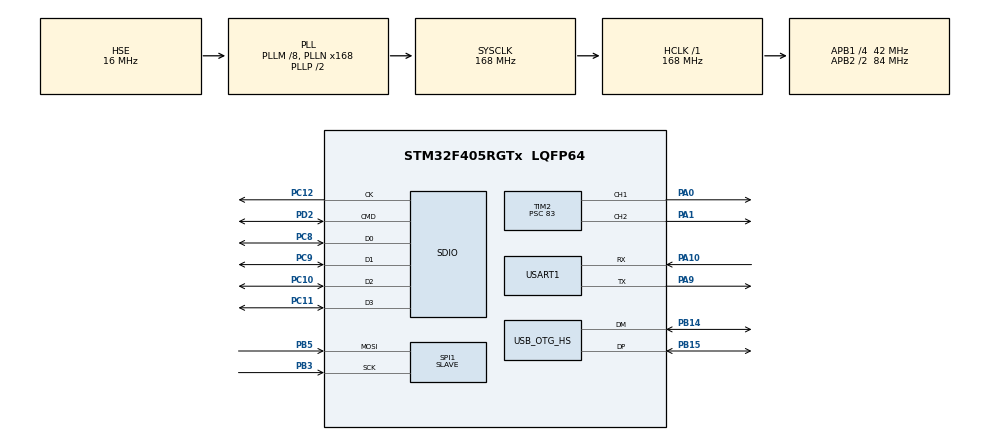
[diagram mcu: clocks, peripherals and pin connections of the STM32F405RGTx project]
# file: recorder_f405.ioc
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ADC1.Channel-0\#ChannelRegularConversion=ADC_CHANNEL_VBAT
ADC1.NbrOfConversionFlag=1
ADC1.Rank-0\#ChannelRegularConversion=1
ADC1.SamplingTime-0\#ChannelRegularConversion=ADC_SAMPLETIME_480CYCLES
ADC1.master=1
Dma.Request0=SDIO_RX
Dma.Request1=SDIO_TX
Dma.Request2=USART1_RX
Dma.Request3=USART1_TX
Dma.Request4=SPI1_RX
Dma.SDIO_RX.0.Direction=DMA_PERIPH_TO_MEMORY
Dma.SDIO_RX.0.FIFOMode=DMA_FIFOMODE_ENABLE
Dma.SDIO_RX.0.FIFOThreshold=DMA_FIFO_THRESHOLD_FULL
Dma.SDIO_RX.0.Instance=DMA2_Stream6
Dma.SDIO_RX.0.MemBurst=DMA_MBURST_INC4
Dma.SDIO_RX.0.MemDataAlignment=DMA_MDATAALIGN_WORD
Dma.SDIO_RX.0.MemInc=DMA_MINC_ENABLE
Dma.SDIO_RX.0.Mode=DMA_PFCTRL
Dma.SDIO_RX.0.PeriphBurst=DMA_PBURST_INC4
Dma.SDIO_RX.0.PeriphDataAlignment=DMA_PDATAALIGN_WORD
Dma.SDIO_RX.0.PeriphInc=DMA_PINC_DISABLE
Dma.SDIO_RX.0.Priority=DMA_PRIORITY_LOW
Dma.SDIO_TX.1.Direction=DMA_MEMORY_TO_PERIPH
Dma.SDIO_TX.1.FIFOMode=DMA_FIFOMODE_ENABLE
Dma.SDIO_TX.1.FIFOThreshold=DMA_FIFO_THRESHOLD_FULL
Dma.SDIO_TX.1.Instance=DMA2_Stream3
Dma.SDIO_TX.1.MemBurst=DMA_MBURST_INC4
Dma.SDIO_TX.1.MemDataAlignment=DMA_MDATAALIGN_WORD
Dma.SDIO_TX.1.MemInc=DMA_MINC_ENABLE
Dma.SDIO_TX.1.Mode=DMA_PFCTRL
Dma.SDIO_TX.1.PeriphBurst=DMA_PBURST_INC4
Dma.SDIO_TX.1.PeriphDataAlignment=DMA_PDATAALIGN_WORD
Dma.SDIO_TX.1.PeriphInc=DMA_PINC_DISABLE
Dma.SDIO_TX.1.Priority=DMA_PRIORITY_LOW
Dma.SPI1_RX.4.Direction=DMA_PERIPH_TO_MEMORY
Dma.SPI1_RX.4.FIFOMode=DMA_FIFOMODE_DISABLE
Dma.SPI1_RX.4.Instance=DMA2_Stream0
Dma.SPI1_RX.4.MemDataAlignment=DMA_MDATAALIGN_BYTE
Dma.SPI1_RX.4.MemInc=DMA_MINC_ENABLE
Dma.SPI1_RX.4.Mode=DMA_CIRCULAR
Dma.SPI1_RX.4.PeriphDataAlignment=DMA_PDATAALIGN_BYTE
Dma.SPI1_RX.4.PeriphInc=DMA_PINC_DISABLE
Dma.SPI1_RX.4.Priority=DMA_PRIORITY_HIGH
Dma.USART1_RX.2.Direction=DMA_PERIPH_TO_MEMORY
Dma.USART1_RX.2.FIFOMode=DMA_FIFOMODE_DISABLE
Dma.USART1_RX.2.Instance=DMA2_Stream2
Dma.USART1_RX.2.MemDataAlignment=DMA_MDATAALIGN_BYTE
Dma.USART1_RX.2.MemInc=DMA_MINC_ENABLE
Dma.USART1_RX.2.Mode=DMA_NORMAL
Dma.USART1_RX.2.PeriphDataAlignment=DMA_PDATAALIGN_BYTE
Dma.USART1_RX.2.PeriphInc=DMA_PINC_DISABLE
Dma.USART1_RX.2.Priority=DMA_PRIORITY_LOW
Dma.USART1_TX.3.Direction=DMA_MEMORY_TO_PERIPH
Dma.USART1_TX.3.FIFOMode=DMA_FIFOMODE_DISABLE
Dma.USART1_TX.3.Instance=DMA2_Stream7
Dma.USART1_TX.3.MemDataAlignment=DMA_MDATAALIGN_BYTE
Dma.USART1_TX.3.MemInc=DMA_MINC_ENABLE
Dma.USART1_TX.3.Mode=DMA_NORMAL
Dma.USART1_TX.3.PeriphDataAlignment=DMA_PDATAALIGN_BYTE
Dma.USART1_TX.3.PeriphInc=DMA_PINC_DISABLE
Dma.USART1_TX.3.Priority=DMA_PRIORITY_LOW
FATFS._CODE_PAGE=437
FATFS._USE_LFN=3
FREERTOS.INCLUDE_pcTaskGetTaskName=1
FREERTOS.INCLUDE_uxTaskGetStackHighWaterMark2=1
FREERTOS.INCLUDE_vTaskDelayUntil=1
FREERTOS.Tasks01=defaultTask,0,128,StartDefaultTask,Default,NULL,Dynamic,NULL,NULL
FREERTOS.configTOTAL_HEAP_SIZE=20480
Mcu.Family=STM32F4
Mcu.Name=STM32F405RGTx
Mcu.Package=LQFP64
NVIC.DMA2_Stream0_IRQn=true\:5\:0\:false\:false\:true\:true\:false\:true\:true
NVIC.DMA2_Stream2_IRQn=true\:5\:0\:false\:false\:true\:true\:false\:true\:true
NVIC.DMA2_Stream3_IRQn=true\:5\:0\:false\:false\:true\:true\:false\:true\:true
NVIC.DMA2_Stream6_IRQn=true\:5\:0\:false\:false\:true\:true\:false\:true\:true
NVIC.DMA2_Stream7_IRQn=true\:5\:0\:false\:false\:true\:true\:false\:true\:true
NVIC.OTG_HS_EP1_IN_IRQn=true\:5\:0\:false\:false\:true\:true\:true\:true\:true
NVIC.OTG_HS_EP1_OUT_IRQn=true\:5\:0\:false\:false\:true\:true\:true\:true\:true
NVIC.OTG_HS_IRQn=true\:5\:0\:false\:false\:true\:true\:true\:true\:true
NVIC.PriorityGroup=NVIC_PRIORITYGROUP_4
NVIC.SDIO_IRQn=true\:5\:0\:false\:false\:true\:true\:true\:true\:true
NVIC.SPI1_IRQn=true\:5\:0\:false\:false\:true\:true\:true\:true\:true
NVIC.TIM1_UP_TIM10_IRQn=true\:15\:0\:false\:false\:true\:false\:false\:true\:true
NVIC.TimeBase=TIM1_UP_TIM10_IRQn
NVIC.TimeBaseIP=TIM1
NVIC.USART1_IRQn=true\:5\:0\:false\:false\:true\:true\:true\:true\:true
PA0-WKUP.Signal=S_TIM2_CH1_ETR
PA1.Signal=S_TIM2_CH2
PA10.GPIO_PuPd=GPIO_PULLUP
PA10.GPIO_Speed=GPIO_SPEED_FREQ_LOW
PA10.Mode=Asynchronous
PA10.Signal=USART1_RX
PA13.Mode=Serial_Wire
PA13.Signal=SYS_JTMS-SWDIO
PA14.Mode=Serial_Wire
PA14.Signal=SYS_JTCK-SWCLK
PA9.GPIO_Speed=GPIO_SPEED_FREQ_LOW
PA9.Mode=Asynchronous
PA9.Signal=USART1_TX
PB14.Mode=Host_FS
PB14.Signal=USB_OTG_HS_DM
PB15.Mode=Host_FS
PB15.Signal=USB_OTG_HS_DP
PB3.GPIO_PuPd=GPIO_PULLDOWN
PB3.Mode=RX_Only_Simplex_Unidirect_Slave
PB3.Signal=SPI1_SCK
PB5.GPIO_PuPd=GPIO_PULLUP
PB5.Mode=RX_Only_Simplex_Unidirect_Slave
PB5.Signal=SPI1_MOSI
PC10.GPIO_PuPd=GPIO_PULLUP
PC10.Mode=SD_4_bits_Wide_bus
PC10.Signal=SDIO_D2
PC11.GPIO_PuPd=GPIO_PULLUP
PC11.Mode=SD_4_bits_Wide_bus
PC11.Signal=SDIO_D3
PC12.Mode=SD_4_bits_Wide_bus
PC12.Signal=SDIO_CK
PC14-OSC32_IN.Mode=LSE-External-Oscillator
PC14-OSC32_IN.Signal=RCC_OSC32_IN
PC15-OSC32_OUT.Mode=LSE-External-Oscillator
PC15-OSC32_OUT.Signal=RCC_OSC32_OUT
PC8.GPIO_PuPd=GPIO_PULLUP
PC8.Mode=SD_4_bits_Wide_bus
PC8.Signal=SDIO_D0
PC9.GPIO_PuPd=GPIO_PULLUP
PC9.Mode=SD_4_bits_Wide_bus
PC9.Signal=SDIO_D1
PD2.GPIO_PuPd=GPIO_PULLUP
PD2.Mode=SD_4_bits_Wide_bus
PD2.Signal=SDIO_CMD
PH0-OSC_IN.Mode=HSE-External-Oscillator
PH0-OSC_IN.Signal=RCC_OSC_IN
PH1-OSC_OUT.Mode=HSE-External-Oscillator
PH1-OSC_OUT.Signal=RCC_OSC_OUT
ProjectManager.HeapSize=0x200
ProjectManager.StackSize=0x2000
ProjectManager.TargetToolchain=MDK-ARM V5.32
RCC.48MHZClocksFreq_Value=48000000
RCC.AHBFreq_Value=168000000
RCC.APB1CLKDivider=RCC_HCLK_DIV4
RCC.APB1Freq_Value=42000000
RCC.APB1TimFreq_Value=84000000
RCC.APB2CLKDivider=RCC_HCLK_DIV2
RCC.APB2Freq_Value=84000000
RCC.APB2TimFreq_Value=168000000
RCC.CortexFreq_Value=168000000
RCC.HCLKFreq_Value=168000000
RCC.HSE_VALUE=16000000
RCC.HSI_VALUE=16000000
RCC.PLLM=8
RCC.PLLN=168
RCC.PLLQ=7
RCC.RCC_RTC_Clock_Source=RCC_RTCCLKSOURCE_LSE
RCC.RCC_RTC_Clock_SourceVirtual=RCC_RTCCLKSOURCE_LSE
RCC.SYSCLKFreq_VALUE=168000000
RCC.SYSCLKSource=RCC_SYSCLKSOURCE_PLLCLK
RCC.VCOOutputFreq_Value=336000000
SH.S_TIM2_CH1_ETR.0=TIM2_CH1,PWM Generation1 CH1
SH.S_TIM2_CH2.0=TIM2_CH2,PWM Generation2 CH2
SPI1.CLKPhase=SPI_PHASE_2EDGE
SPI1.CRCCalculation=SPI_CRCCALCULATION_DISABLE
SPI1.Direction=SPI_DIRECTION_2LINES_RXONLY
SPI1.Mode=SPI_MODE_SLAVE
SPI1.VirtualType=VM_SLAVE
TIM2.AutoReloadPreload=TIM_AUTORELOAD_PRELOAD_ENABLE
TIM2.Channel-PWM\ Generation1\ CH1=TIM_CHANNEL_1
TIM2.Channel-PWM\ Generation2\ CH2=TIM_CHANNEL_2
TIM2.Period=999
TIM2.Prescaler=83
USART1.VirtualMode=VM_ASYNC
USB_HOST.SW_VBUS_DRIVE_CDC_HS=false
USB_HOST.USBH_HandleTypeDef-CDC_HS=hUsbHostHS
USB_HOST.USBH_PROCESS_STACK_SIZE-CDC_HS=256
USB_HOST.VirtualModeHS=Cdc
USB_OTG_HS.VirtualMode-Host_FS=Host_FS
USB_OTG_HS.dma_enable-Host_FS=ENABLE
VP_ADC1_Vbat_Input.Mode=IN-Vbat
VP_FATFS_VS_SDIO.Mode=SDIO
VP_FREERTOS_VS_CMSIS_V1.Mode=CMSIS_V1
VP_RTC_VS_RTC_Activate.Mode=RTC_Enabled
VP_SYS_VS_tim1.Mode=TIM1
VP_TIM2_VS_ClockSourceINT.Mode=Internal
VP_USB_HOST_VS_USB_HOST_CDC_HS.Mode=CDC_HS
board=custom

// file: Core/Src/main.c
/* USER CODE BEGIN Header */
/**
  ******************************************************************************
  * @file           : main.c
  * @brief          : Main program body
  ******************************************************************************
  * @attention
  *
  * Copyright (c) 2026 STMicroelectronics.
  * All rights reserved.
  *
  * This software is licensed under terms that can be found in the LICENSE file
  * in the root directory of this software component.
  * If no LICENSE file comes with this software, it is provided AS-IS.
  *
  ******************************************************************************
  */
/* USER CODE END Header */
#include "main.h"
#include "cmsis_os.h"
#include "adc.h"
#include "dma.h"
#include "fatfs.h"
#include "rtc.h"
#include "sdio.h"
#include "spi.h"
#include "tim.h"
#include "usart.h"
#include "usb_host.h"
#include "gpio.h"

/* USER CODE BEGIN Includes */
#include "usart_comm.h"
#include "control_def.h"
/* USER CODE END Includes */

void SystemClock_Config(void);
void MX_FREERTOS_Init(void);

/* USER CODE BEGIN 0 */
float battery_voltage;
/* USER CODE END 0 */

int main(void)
{

  /* MCU Configuration--------------------------------------------------------*/

  /* Reset of all peripherals, Initializes the Flash interface and the Systick. */
  HAL_Init();

  /* Configure the system clock */
  SystemClock_Config();

  /* USER CODE BEGIN SysInit */
  HAL_Delay(300);
  /* USER CODE END SysInit */

  /* Initialize all configured peripherals */
  MX_GPIO_Init();
  MX_DMA_Init();
  MX_RTC_Init();
  MX_SDIO_SD_Init();
  MX_FATFS_Init();
  MX_USART1_UART_Init();
  MX_SPI1_Init();
  MX_ADC1_Init();
  MX_TIM2_Init();
  /* USER CODE BEGIN 2 */
  (void)RTC_SetInitialTime(RTC_INITIAL_YEAR,
                           RTC_INITIAL_MONTH,
                           RTC_INITIAL_DAY,
                           RTC_INITIAL_HOUR,
                           RTC_INITIAL_MINUTE,
                           RTC_INITIAL_SECOND);
  Battery_ReadVoltage(3.3f,&battery_voltage);
  usart_comm_init();
  HAL_Delay(300);
  /* USER CODE END 2 */

  /* Call init function for freertos objects (in cmsis_os2.c) */
  MX_FREERTOS_Init();

  /* Start scheduler */
  osKernelStart();

  /* We should never get here as control is now taken by the scheduler */

  /* Infinite loop */
  while (1)
  {

  }
}

void SystemClock_Config(void)
{
  RCC_OscInitTypeDef RCC_OscInitStruct = {0};
  RCC_ClkInitTypeDef RCC_ClkInitStruct = {0};

  /** Configure the main internal regulator output voltage
  */
  __HAL_RCC_PWR_CLK_ENABLE();
  __HAL_PWR_VOLTAGESCALING_CONFIG(PWR_REGULATOR_VOLTAGE_SCALE1);

  /** Initializes the RCC Oscillators according to the specified parameters
  * in the RCC_OscInitTypeDef structure.
  */
  RCC_OscInitStruct.OscillatorType = RCC_OSCILLATORTYPE_HSE|RCC_OSCILLATORTYPE_LSE;
  RCC_OscInitStruct.HSEState = RCC_HSE_ON;
  RCC_OscInitStruct.LSEState = RCC_LSE_ON;
  RCC_OscInitStruct.PLL.PLLState = RCC_PLL_ON;
  RCC_OscInitStruct.PLL.PLLSource = RCC_PLLSOURCE_HSE;
  RCC_OscInitStruct.PLL.PLLM = 8;
  RCC_OscInitStruct.PLL.PLLN = 168;
  RCC_OscInitStruct.PLL.PLLP = RCC_PLLP_DIV2;
  RCC_OscInitStruct.PLL.PLLQ = 7;
  if (HAL_RCC_OscConfig(&RCC_OscInitStruct) != HAL_OK)
  {
    Error_Handler();
  }

  /** Initializes the CPU, AHB and APB buses clocks
  */
  RCC_ClkInitStruct.ClockType = RCC_CLOCKTYPE_HCLK|RCC_CLOCKTYPE_SYSCLK
                              |RCC_CLOCKTYPE_PCLK1|RCC_CLOCKTYPE_PCLK2;
  RCC_ClkInitStruct.SYSCLKSource = RCC_SYSCLKSOURCE_PLLCLK;
  RCC_ClkInitStruct.AHBCLKDivider = RCC_SYSCLK_DIV1;
  RCC_ClkInitStruct.APB1CLKDivider = RCC_HCLK_DIV4;
  RCC_ClkInitStruct.APB2CLKDivider = RCC_HCLK_DIV2;

  if (HAL_RCC_ClockConfig(&RCC_ClkInitStruct, FLASH_LATENCY_5) != HAL_OK)
  {
    Error_Handler();
  }
}

void HAL_TIM_PeriodElapsedCallback(TIM_HandleTypeDef *htim)
{
  if (htim->Instance == TIM1)
  {
    HAL_IncTick();
  }
}

void Error_Handler(void)
{
  __disable_irq();
  while (1)
  {
  }
}

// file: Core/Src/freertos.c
/* USER CODE BEGIN Header */
/**
  ******************************************************************************
  * File Name          : freertos.c
  * Description        : Code for freertos applications
  ******************************************************************************
  * @attention
  *
  * Copyright (c) 2026 STMicroelectronics.
  * All rights reserved.
  *
  * This software is licensed under terms that can be found in the LICENSE file
  * in the root directory of this software component.
  * If no LICENSE file comes with this software, it is provided AS-IS.
  *
  ******************************************************************************
  */
/* USER CODE END Header */

#include "FreeRTOS.h"
#include "task.h"
#include "main.h"
#include "cmsis_os.h"

/* USER CODE BEGIN Includes */
#include  "recorder.h"
#include  "debug_task.h"
#include  "comm_task.h"
#include  "tskd_task.h"
#include  "comm.h"
#include  "led_control.h"
/* USER CODE END Includes */

/* USER CODE BEGIN PTD */
#include "control_def.h"
/* USER CODE END PTD */

/* USER CODE BEGIN Variables */
osThreadId tskdTaskHandle;
osThreadId DebugTaskHandle;
osThreadId CommTaskHandle;
/* USER CODE END Variables */
osThreadId defaultTaskHandle;

void StartDefaultTask(void const * argument);

extern void MX_USB_HOST_Init(void);
void MX_FREERTOS_Init(void); /* (MISRA C 2004 rule 8.1) */

/* GetIdleTaskMemory prototype (linked to static allocation support) */
void vApplicationGetIdleTaskMemory( StaticTask_t **ppxIdleTaskTCBBuffer, StackType_t **ppxIdleTaskStackBuffer, uint32_t *pulIdleTaskStackSize );

/* USER CODE BEGIN GET_IDLE_TASK_MEMORY */
static StaticTask_t xIdleTaskTCBBuffer;
static StackType_t xIdleStack[configMINIMAL_STACK_SIZE];

void vApplicationGetIdleTaskMemory( StaticTask_t **ppxIdleTaskTCBBuffer, StackType_t **ppxIdleTaskStackBuffer, uint32_t *pulIdleTaskStackSize )
{
  *ppxIdleTaskTCBBuffer = &xIdleTaskTCBBuffer;
  *ppxIdleTaskStackBuffer = &xIdleStack[0];
  *pulIdleTaskStackSize = configMINIMAL_STACK_SIZE;
  /* place for user code */
}
/* USER CODE END GET_IDLE_TASK_MEMORY */

void MX_FREERTOS_Init(void) {

  /* Create the thread(s) */
  /* definition and creation of defaultTask */
  osThreadDef(defaultTask, StartDefaultTask, osPriorityLow, 0, 128);
  defaultTaskHandle = osThreadCreate(osThread(defaultTask), NULL);

  /* USER CODE BEGIN RTOS_THREADS */
  /* add threads, ... */
  osThreadDef(tskdTask, tskd_Task, osPriorityHigh, 0, 2560);
  tskdTaskHandle = osThreadCreate(osThread(tskdTask), NULL);

#if COMM_INTERFACE != COMM_INTERFACE_NONE
  osThreadDef(CommTask, comm_task, osPriorityNormal, 0, 512);
  CommTaskHandle = osThreadCreate(osThread(CommTask), NULL);
#endif

  osThreadDef(DebugTask, debug_task, osPriorityLow, 0, 512);
  DebugTaskHandle = osThreadCreate(osThread(DebugTask), NULL);
  /* USER CODE END RTOS_THREADS */

}

void StartDefaultTask(void const * argument)
{
  /* init code for USB_HOST */
  MX_USB_HOST_Init();
  /* USER CODE BEGIN StartDefaultTask */
  comm_init();
  led_control_start();
  /* Infinite loop */
  for(;;)
  {
    led_control_update();
    COMM_led_control((uint8_t)comm.status.ready, comm.status.rx_count);
    osDelay(10U);
  }
  /* USER CODE END StartDefaultTask */
}
